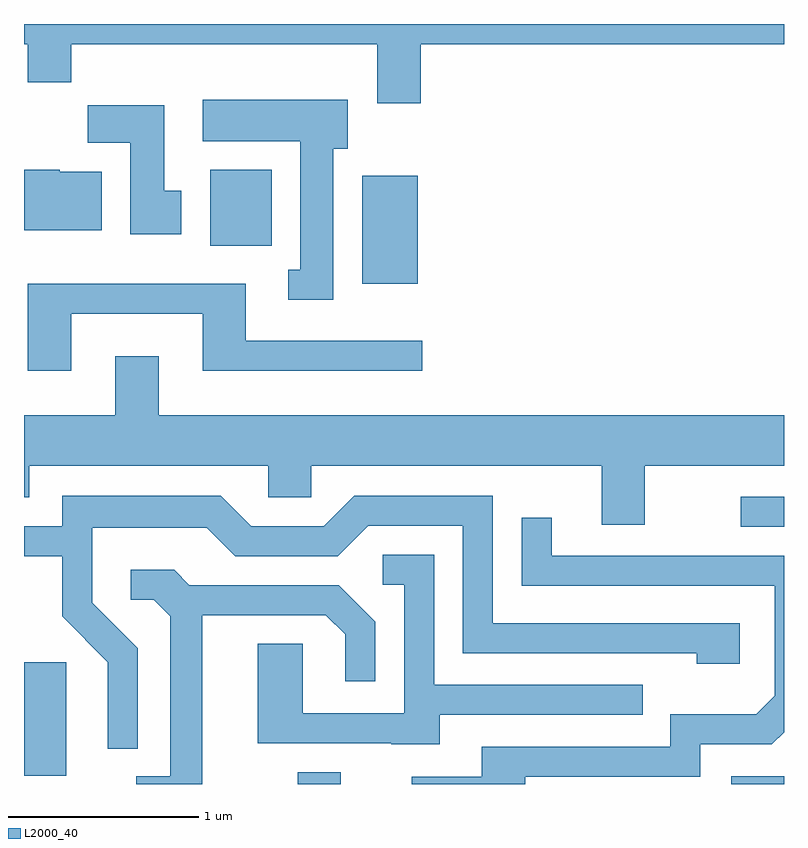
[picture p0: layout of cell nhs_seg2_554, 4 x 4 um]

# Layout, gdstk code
import gdstk
lib = gdstk.Library(unit=1e-6, precision=1e-09)
def R(c, l, rs):  # rectangles x0, y0, x1, y1
    for r in rs: c.add(gdstk.rectangle(r[:2], r[2:], *l))
def P(c, l, *ps):  # polygons
    for p in ps: c.add(gdstk.Polygon(p, *l))
L2000_40 = (2000, 40)

nhs_seg2_554 = lib.new_cell('nhs_seg2_554')
R(nhs_seg2_554, L2000_40, [(203.051,997.802,203.279,997.864), (205.333,997.802,205.611,997.844), (201.611,997.846,201.834,998.444), (205.383,999.156,205.611,999.314), (203.391,1000.436,203.684,1001.004), (202.591,1000.636,202.914,1001.034)])
P(nhs_seg2_554, L2000_40, [(203.699,1001.696),(205.611,1001.696),(205.611,1001.802),(201.611,1001.802),(201.611,1001.696),(201.631,1001.696),(201.631,1001.496),(201.859,1001.496),(201.859,1001.696),(203.471,1001.696),(203.471,1001.386),(203.699,1001.386)],
  [(203.239,1001.146),(203.314,1001.146),(203.314,1001.404),(202.551,1001.404),(202.551,1001.186),(203.066,1001.186),(203.066,1000.509),(203.003,1000.509),(203.003,1000.351),(203.239,1000.351)],
  [(202.439,1000.924),(202.349,1000.924),(202.349,1001.374),(201.946,1001.374),(201.946,1001.176),(202.171,1001.176),(202.171,1000.696),(202.439,1000.696)],
  [(202.019,1001.024),(201.8,1001.024),(201.8,1001.034),(201.611,1001.034),(201.611,1000.716),(202.019,1000.716)],
  [(201.859,1000.276),(202.551,1000.276),(202.551,999.976),(203.708,999.976),(203.708,1000.134),(202.779,1000.134),(202.779,1000.434),(201.631,1000.434),(201.631,999.976),(201.859,999.976)],
  [(204.879,999.476),(205.611,999.476),(205.611,999.744),(202.319,999.744),(202.319,1000.054),(202.091,1000.054),(202.091,999.744),(201.611,999.744),(201.611,999.311),(201.639,999.311),(201.639,999.476),(202.896,999.476),(202.896,999.311),(203.124,999.311),(203.124,999.476),(204.651,999.476),(204.651,999.166),(204.879,999.166)],
  [(202.209,998.517),(201.969,998.757),(201.969,999.151),(202.574,999.151),(202.724,999.001),(203.262,999.001),(203.422,999.161),(203.921,999.161),(203.921,998.491),(205.151,998.491),(205.151,998.436),(205.379,998.436),(205.379,998.649),(204.079,998.649),(204.079,999.319),(203.349,999.319),(203.189,999.159),(202.807,999.159),(202.647,999.319),(201.811,999.319),(201.811,999.159),(201.611,999.159),(201.611,999.001),(201.811,999.001),(201.811,998.684),(202.051,998.444),(202.051,997.988),(202.209,997.988)],
  [(204.249,997.841),(205.169,997.841),(205.169,998.011),(205.547,998.011),(205.611,998.075),(205.611,999.004),(204.389,999.004),(204.389,999.203),(204.231,999.203),(204.231,998.846),(205.561,998.846),(205.561,998.267),(205.464,998.169),(205.011,998.169),(205.011,997.999),(204.021,997.999),(204.021,997.839),(203.653,997.839),(203.653,997.802),(204.249,997.802)],
  [(203.799,998.166),(204.868,998.166),(204.868,998.324),(203.769,998.324),(203.769,999.009),(203.498,999.009),(203.498,998.851),(203.611,998.851),(203.611,998.174),(203.079,998.174),(203.079,998.539),(202.841,998.539),(202.841,998.016),(203.545,998.016),(203.545,998.011),(203.799,998.011)],
  [(202.549,998.691),(203.199,998.691),(203.301,998.589),(203.301,998.343),(203.459,998.343),(203.459,998.657),(203.267,998.849),(202.482,998.849),(202.402,998.929),(202.173,998.929),(202.173,998.771),(202.294,998.771),(202.381,998.684),(202.381,997.844),(202.203,997.844),(202.203,997.802),(202.549,997.802)])

lib.write_gds('nhs_seg2_554.gds')
